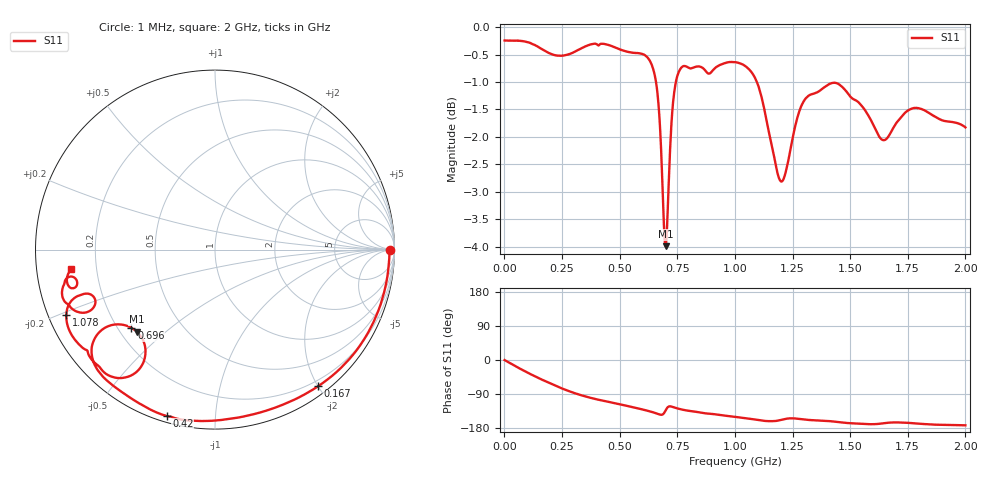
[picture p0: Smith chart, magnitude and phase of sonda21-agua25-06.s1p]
! COPPER MOUNTAIN TECHNOLOGIES, R60, 23103002, 24.3.3/3.0
! Date: 25/6/2026 14:44:11
! Data: Format [Calibration Info]
! Frequency		S11: Mag/Ang F1
# HZ S MA R 50
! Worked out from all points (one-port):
!   2000 points, 1 MHz to 2 GHz, reference 50 ohm
!   lowest |S11| = -4.0 dB at 699 MHz (marker M1), VSWR 4.43, Z = 13.2 - j20.2 ohm
!   |S11| at or under -10 dB: nowhere
!   S11 on the Smith chart (normalised r, x): 1 MHz: 69, -11; 167 MHz: 0.12, -2.00; 420 MHz: 0.03, -0.75; 696 MHz: 0.25, -0.37; 1.078 GHz: 0.05, -0.21; 2 GHz: 0.11, -0.07
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1000000  0.9723 -0.2
7.6e7  0.9711 -25.5
1.67e8  0.9537 -53.0
2.51e8  0.9416 -75.3
3.39e8  0.9575 -94.0
4.2e8  0.9654 -106.2
5.01e8  0.9542 -116.8
6.02e8  0.9446 -131.0
6.54e8  0.9005 -139.7
6.76e8  0.8053 -144.3
6.87e8  0.7058 -143.6
6.96e8  0.6379 -136.9
6.99e8  0.6319 -133.6
7.1e8  0.6935 -124.0
7.24e8  0.8118 -122.7
7.51e8  0.9036 -127.8
8.49e8  0.9203 -138.6
1.001e9  0.929 -150.2
1.078e9  0.9061 -156.1
1.171e9  0.7609 -161.2
1.21e9  0.7264 -156.5
1.251e9  0.7932 -153.9
1.322e9  0.8665 -158.3
1.501e9  0.8644 -166.9
1.593e9  0.8207 -169.4
1.65e9  0.7893 -166.6
1.751e9  0.8396 -165.8
2e9  0.8104 -172.4
